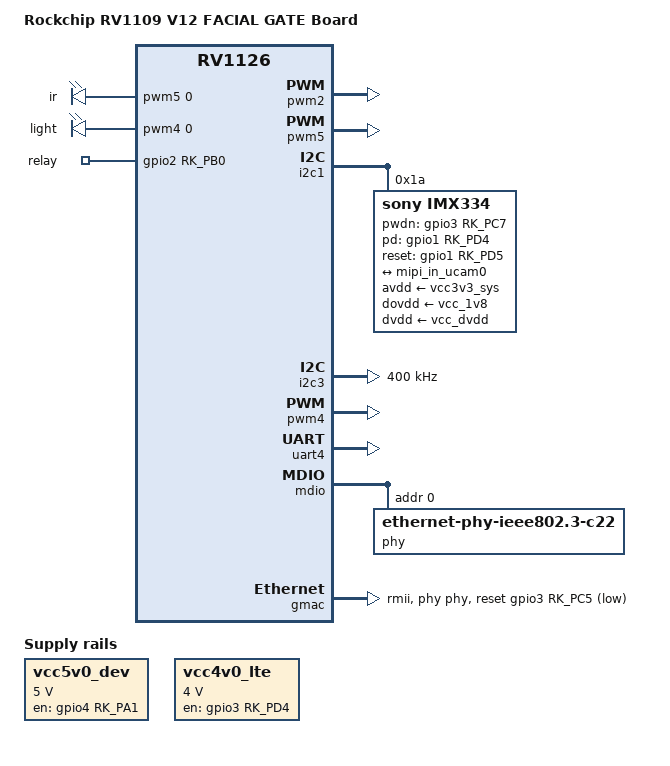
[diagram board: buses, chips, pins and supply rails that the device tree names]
// SPDX-License-Identifier: (GPL-2.0+ OR MIT)
/*
 * Copyright (c) 2020 Rockchip Electronics Co., Ltd.
 */
/dts-v1/;
#include "rv1126.dtsi"
#include "rv1126-owl-evb-v10.dtsi"
/ {
	model = "Rockchip RV1109 V12 FACIAL GATE Board";
	compatible = "rockchip,rv1109-evb-ddr3-v12-facial-gate", "rockchip,rv1126";

	chosen {
		bootargs = "earlycon=uart8250,mmio32,0xff570000 console=ttyFIQ0 root=PARTUUID=614e0000-0000 rootfstype=ext4 rootwait snd_aloop.index=7";
	};

	pwmleds {
		compatible = "pwm-leds";

		pwmi_ir {
			label = "ir";
			pwms = <&pwm5 0 25000 0>;
			max-brightness = <255>;
		};

		pwmi_light {
			label = "light";
			pwms = <&pwm4 0 25000 0>;
			max-brightness = <255>;
		};
	};

    gpio-leds {
        compatible = "gpio-leds";

        relay {
            label = "relay";
            gpios = <&gpio2 RK_PB0 GPIO_ACTIVE_HIGH>;
        };
    };

	vcc5v0_dev: vcc5v0-dev {
		compatible = "regulator-fixed";
		regulator-name = "vcc5v0_dev";
		gpio = <&gpio4 RK_PA1 GPIO_ACTIVE_HIGH>;
		enable-active-high;
		regulator-always-on;
		regulator-boot-on;
		regulator-min-microvolt = <5000000>;
		regulator-max-microvolt = <5000000>;
	};

	vcc4v0_lte: vcc4v0-lte {
		compatible = "regulator-fixed";
		regulator-name = "vcc4v0_lte";
		gpio = <&gpio3 RK_PD4 GPIO_ACTIVE_HIGH>;
		enable-active-high;
		regulator-always-on;
		regulator-boot-on;
		regulator-min-microvolt = <4000000>;
		regulator-max-microvolt = <4000000>;
	};
};

&pinctrl {
    lcd_rst {
        lcd_rst_gpio: lcd-rst-gpio {
            rockchip,pins = <0 RK_PA4 RK_FUNC_GPIO &pcfg_pull_none>;
        };
    };

    dev_pwr {
        dev_pwr_en: dev-pwr-en {
            rockchip,pins = <4 RK_PA1 RK_FUNC_GPIO &pcfg_pull_none>;
        };
    };
};

&pwm2 {
	status = "okay";
};

&pwm5 {
	status = "okay";
	pinctrl-names = "active";
	pinctrl-0 = <&pwm5m0_pins_pull_down>;
};

&dsi {
	status = "disabled";
};

&i2c1 {
    imx334: imx334@1a {
        compatible = "sony,imx334";
        reg = <0x1a>;
        clocks = <&cru CLK_MIPICSI_OUT>;
        clock-names = "xvclk";
        power-domains = <&power RV1126_PD_VI>;
        pinctrl-names = "rockchip,camera_default";
        pinctrl-0 = <&mipicsi_clk0>;
        avdd-supply = <&vcc3v3_sys>;
        dovdd-supply = <&vcc_1v8>;
        dvdd-supply = <&vcc_dvdd>;
        pwdn-gpios = <&gpio3 RK_PC7 GPIO_ACTIVE_HIGH>;
        pd-gpios = <&gpio1 RK_PD4 GPIO_ACTIVE_HIGH>;
		reset-gpios = <&gpio1 RK_PD5 GPIO_ACTIVE_HIGH>;
        rockchip,camera-module-index = <1>;
        rockchip,camera-module-facing = "front";
        rockchip,camera-module-name = "CMK-OT1522-FG3";
        rockchip,camera-module-lens-name = "CS-P1150-IRC-8M-FAU";
        port {
			ucam_out0: endpoint {
				remote-endpoint = <&mipi_in_ucam0>;
                data-lanes = <1 2 3 4>;
            };
        };
    };
};

&i2c3 {
    status = "okay";
    clock-frequency = <400000>;
    pinctrl-names = "default";
    pinctrl-0 = <&i2c3m2_xfer>;
};

&i2c5 {
    status = "disable";
};

&pwm4 {
	status = "okay";
	pinctrl-names = "active";
	pinctrl-0 = <&pwm4m0_pins_pull_down>;
};

&rk809 {
	regulators {
		vcc_dvdd: LDO_REG6 {
			regulator-min-microvolt = <1300000>;
			regulator-max-microvolt = <1300000>;
		};

		vcc_avdd: LDO_REG7 {
			regulator-min-microvolt = <3300000>;
			regulator-max-microvolt = <3300000>;
		};
	};
};

&uart4 {
    status = "okay";
    pinctrl-names = "default";
    pinctrl-0 = <&uart4m1_xfer>;
};

&mdio {
	phy: phy@0 {
		compatible = "ethernet-phy-ieee802.3-c22";
		reg = <0x0>;
	};
};

&gmac {
	phy-mode = "rmii";
	clock_in_out = "output";

	snps,reset-gpio = <&gpio3 RK_PC5 GPIO_ACTIVE_LOW>;
	snps,reset-active-low;
	snps,reset-delays-us = <0 50000 50000>;

	assigned-clocks = <&cru CLK_GMAC_SRC>, <&cru CLK_GMAC_TX_RX>;
	assigned-clock-parents = <&cru CLK_GMAC_SRC_M0>, <&cru RMII_MODE_CLK>;
	assigned-clock-rates = <50000000>;

	pinctrl-names = "default";
	pinctrl-0 = <&rmiim0_pins &gmac_clk_m0_drv_level0_pins>;

	phy-handle = <&phy>;
	status = "okay";
};

